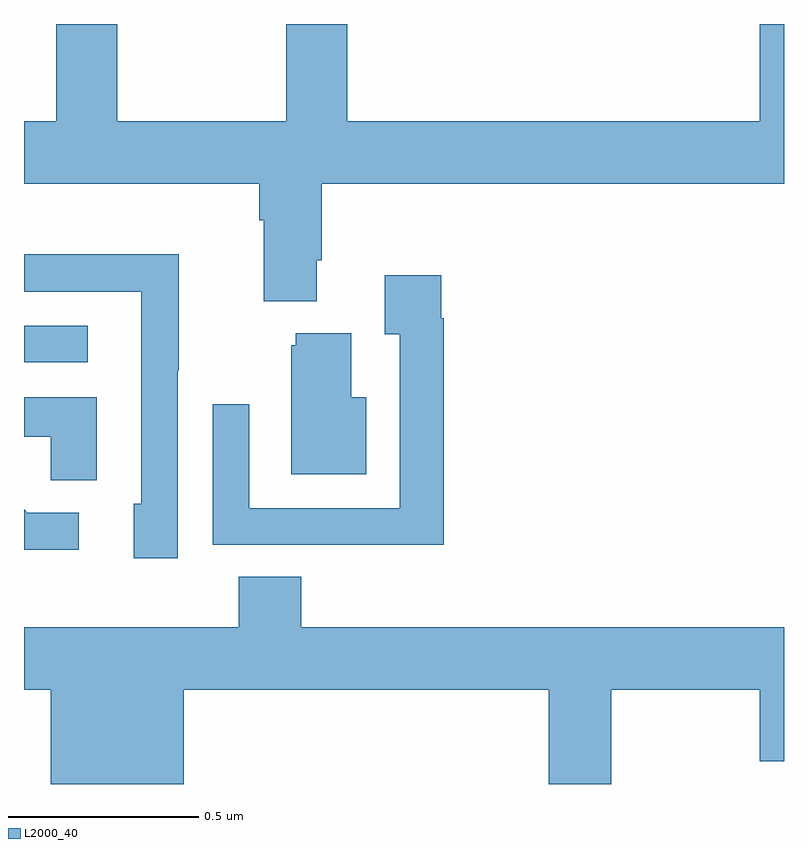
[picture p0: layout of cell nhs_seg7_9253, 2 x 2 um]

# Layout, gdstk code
import gdstk
lib = gdstk.Library(unit=1e-6, precision=1e-09)
def R(c, l, rs):  # rectangles x0, y0, x1, y1
    for r in rs: c.add(gdstk.rectangle(r[:2], r[2:], *l))
def P(c, l, *ps):  # polygons
    for p in ps: c.add(gdstk.Polygon(p, *l))
L2000_40 = (2000, 40)

nhs_seg7_9253 = lib.new_cell('nhs_seg7_9253')
R(nhs_seg7_9253, L2000_40, [(235,1036.11,235.168,1036.206)])
P(nhs_seg7_9253, L2000_40, [(235.771,1036.378),(235.784,1036.378),(235.784,1036.58),(237,1036.58),(237,1037),(236.936,1037),(236.936,1036.744),(235.85,1036.744),(235.85,1037),(235.69,1037),(235.69,1036.744),(235.245,1036.744),(235.245,1037),(235.085,1037),(235.085,1036.744),(235,1036.744),(235,1036.58),(235.619,1036.58),(235.619,1036.484),(235.631,1036.484),(235.631,1036.271),(235.771,1036.271)],
  [(235.404,1036.087),(235.407,1036.087),(235.407,1036.394),(235,1036.394),(235,1036.296),(235.308,1036.296),(235.308,1035.738),(235.289,1035.738),(235.289,1035.594),(235.404,1035.594)],
  [(236.105,1036.226),(236.098,1036.226),(236.098,1036.339),(235.949,1036.339),(235.949,1036.183),(235.989,1036.183),(235.989,1035.726),(235.593,1035.726),(235.593,1036),(235.497,1036),(235.497,1035.63),(235.813,1035.63),(235.813,1035.629),(236.105,1035.629)],
  [(235.9,1036.018),(235.861,1036.018),(235.861,1036.186),(235.715,1036.186),(235.715,1036.155),(235.703,1036.155),(235.703,1035.815),(235.9,1035.815)],
  [(235.192,1036.018),(235,1036.018),(235,1035.914),(235.071,1035.914),(235.071,1035.799),(235.192,1035.799)],
  [(235.144,1035.714),(235.009,1035.714),(235,1035.723),(235,1035.617),(235.144,1035.617)],
  [(235.42,1035.248),(236.381,1035.248),(236.381,1035),(236.545,1035),(236.545,1035.248),(236.936,1035.248),(236.936,1035.06),(237,1035.06),(237,1035.412),(235.73,1035.412),(235.73,1035.545),(235.565,1035.545),(235.565,1035.412),(235,1035.412),(235,1035.248),(235.07,1035.248),(235.07,1035),(235.42,1035)])

lib.write_gds('nhs_seg7_9253.gds')
